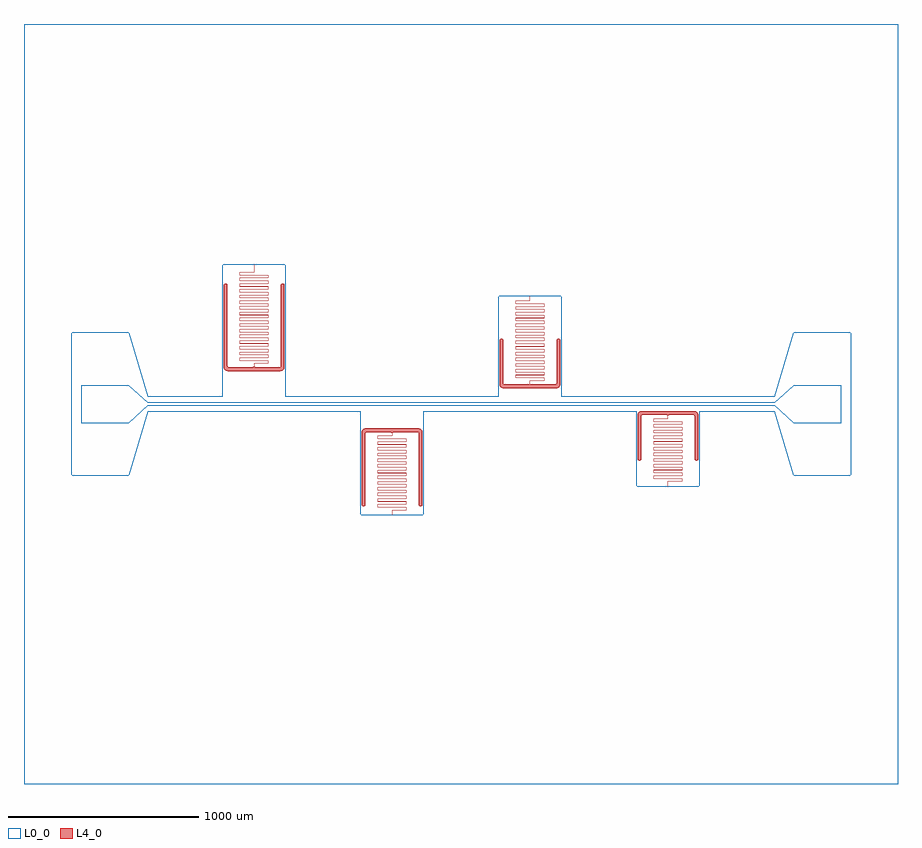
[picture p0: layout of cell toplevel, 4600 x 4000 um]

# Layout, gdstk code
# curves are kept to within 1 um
import gdstk
lib = gdstk.Library(unit=1e-6, precision=1e-09)
def P(c, l, *ps):  # polygons
    for p in ps: c.add(gdstk.Polygon(p, *l))
L0_0 = (0, 0)
L4_0 = (4, 0)

toplevel = lib.new_cell('toplevel')
P(toplevel, L0_0, [(2300,2000),(-2300,2000),(-2300,-375),(-2050,-375),(-2050,375),(-1750,375),(-1650,37.5),(-1254,37.5),(-1254,733.5),(-924,733.5),(-924,37.5),(198,37.5),(198,567.833),(528,567.833),(528,37.5),(1650,37.5),(1750,375),(2050,375),(2050,-375),(1750,-375),(1650,-37.5),(1254,-37.5),(1254,-432.5),(924,-432.5),(924,-37.5),(-198,-37.5),(-198,-583.167),(-528,-583.167),(-528,-37.5),(-1650,-37.5),(-1750,-375),(-2300,-375),(-2300,-2000),(2300,-2000)],
  [(-1650,10),(-1750,100),(-2000,100),(-2000,-100),(-1750,-100),(-1650,-10),(1650,-10),(1750,-100),(2000,-100),(2000,100),(1750,100),(1650,10)])
P(toplevel, L4_0, [(-957.256,173.5),(-946.418,174.546),(-938.466,178.163),(-932.684,184.468),(-929.573,193.131),(-929,333.264),(-949,333.264),(-949.063,198.555),(-950.128,194.413),(-956.931,193.5),(-1079,193.5),(-1088.85,198.4),(-1088.645,213.237),(-1014.181,213.302),(-1014.295,228.531),(-1163.818,228.69),(-1163.605,243.244),(-1014.558,243.25),(-1013.851,243.876),(-1014.368,258.543),(-1163.737,258.595),(-1163.579,273.246),(-1014.558,273.25),(-1013.851,273.867),(-1014.429,288.548),(-1163.657,288.565),(-1163.721,303.213),(-1014.378,303.256),(-1013.85,317.879),(-1014.537,318.55),(-1163.59,318.555),(-1163.766,333.185),(-1014.318,333.264),(-1164.077,333.264),(-1163.622,318.256),(-1014.15,317.867),(-1014.41,303.555),(-1163.826,303.495),(-1163.682,288.264),(-1014.416,288.246),(-1014.15,273.9),(-1163.647,273.541),(-1163.894,258.339),(-1014.427,258.247),(-1014.15,243.902),(-1163.616,243.544),(-1164.149,228.879),(-1163.442,228.25),(-1014.445,228.248),(-1014.238,213.611),(-1088.74,213.523),(-1089.15,198.4),(-1099,193.5),(-1221.398,193.501),(-1227.571,194.248),(-1228.622,196.059),(-1228.995,200.544),(-1229,333.264),(-1249,333.264),(-1248.862,196.75),(-1247.774,190.25),(-1245.477,184.744),(-1242.012,180.24),(-1237.342,176.789),(-1230.658,174.327),(-1222.348,173.508)],
  [(-1014.26,333.277),(-1014.109,333.337),(-1013.96,333.474),(-1013.851,333.861),(-1013.85,347.874),(-1013.884,348.167),(-1013.978,348.35),(-1014.141,348.48),(-1014.359,348.541),(-1163.442,348.55),(-1163.738,348.596),(-1163.841,348.774),(-1163.85,362.865),(-1163.798,363.148),(-1163.603,363.244),(-1014.558,363.25),(-1014.318,363.264),(-1014.109,363.337),(-1013.96,363.474),(-1013.873,363.673),(-1013.853,377.977),(-1013.9,378.213),(-1013.991,378.365),(-1014.167,378.492),(-1014.356,378.541),(-1163.442,378.55),(-1163.714,378.583),(-1163.834,378.741),(-1163.85,392.912),(-1163.78,393.172),(-1163.581,393.246),(-1014.521,393.25),(-1014.273,393.273),(-1014.084,393.353),(-1013.949,393.49),(-1013.871,393.682),(-1013.851,407.941),(-1013.889,408.183),(-1013.991,408.365),(-1014.154,408.486),(-1014.378,408.544),(-1163.457,408.55),(-1163.73,408.591),(-1163.836,408.747),(-1163.85,422.905),(-1163.79,423.159),(-1163.592,423.245),(-1014.532,423.25),(-1014.279,423.272),(-1014.09,423.349),(-1013.953,423.484),(-1013.873,423.676),(-1013.851,437.941),(-1013.889,438.183),(-1013.991,438.365),(-1014.154,438.486),(-1014.378,438.544),(-1163.457,438.55),(-1163.727,438.59),(-1163.834,438.739),(-1163.85,452.905),(-1163.79,453.159),(-1163.592,453.245),(-1014.532,453.25),(-1014.282,453.271),(-1014.096,453.345),(-1013.96,453.474),(-1013.877,453.66),(-1013.851,467.941),(-1013.889,468.183),(-1013.991,468.365),(-1014.154,468.486),(-1014.378,468.544),(-1163.457,468.55),(-1163.722,468.587),(-1163.832,468.73),(-1163.85,482.905),(-1163.79,483.159),(-1163.592,483.245),(-1014.534,483.25),(-1014.289,483.27),(-1014.103,483.341),(-1013.966,483.465),(-1013.881,483.643),(-1013.85,483.937),(-1013.851,497.941),(-1013.889,498.183),(-1013.991,498.365),(-1014.154,498.486),(-1014.378,498.544),(-1163.457,498.55),(-1163.718,498.585),(-1163.829,498.72),(-1163.85,512.905),(-1163.79,513.159),(-1163.592,513.245),(-1014.534,513.25),(-1014.112,513.336),(-1013.976,513.453),(-1013.887,513.624),(-1013.85,513.934),(-1013.851,527.941),(-1013.889,528.183),(-1013.991,528.365),(-1014.154,528.486),(-1014.378,528.544),(-1163.457,528.55),(-1163.714,528.583),(-1163.825,528.707),(-1163.85,542.905),(-1163.79,543.159),(-1163.592,543.245),(-1014.534,543.25),(-1014.122,543.33),(-1013.985,543.441),(-1013.896,543.597),(-1013.85,543.932),(-1013.851,557.938),(-1013.889,558.183),(-1013.991,558.365),(-1014.154,558.486),(-1014.378,558.544),(-1163.455,558.55),(-1163.706,558.58),(-1163.82,558.694),(-1163.85,572.902),(-1163.791,573.158),(-1163.592,573.245),(-1014.537,573.25),(-1014.138,573.322),(-1014.001,573.423),(-1013.908,573.567),(-1013.85,573.926),(-1013.851,587.938),(-1013.889,588.183),(-1013.991,588.365),(-1014.154,588.486),(-1014.378,588.544),(-1163.455,588.55),(-1163.697,588.577),(-1163.813,588.679),(-1163.85,588.935),(-1163.85,602.902),(-1163.79,603.159),(-1163.59,603.245),(-1014.537,603.25),(-1014.154,603.314),(-1013.925,603.532),(-1013.85,603.923),(-1013.851,617.936),(-1013.888,618.18),(-1013.991,618.365),(-1014.154,618.486),(-1014.378,618.544),(-1163.455,618.55),(-1163.686,618.573),(-1163.804,618.662),(-1163.85,618.932),(-1163.85,632.9),(-1163.791,633.158),(-1163.59,633.245),(-1014.54,633.25),(-1014.181,633.302),(-1013.951,633.487),(-1013.873,633.673),(-1013.85,633.915),(-1013.851,647.933),(-1013.887,648.176),(-1013.988,648.362),(-1014.154,648.486),(-1014.378,648.544),(-1163.452,648.55),(-1163.671,648.569),(-1163.791,648.642),(-1163.85,648.927),(-1163.85,662.9),(-1163.791,663.158),(-1163.59,663.245),(-1014.542,663.25),(-1014.217,663.289),(-1013.993,663.432),(-1013.884,663.633),(-1013.85,663.907),(-1013.851,677.927),(-1013.887,678.176),(-1013.988,678.362),(-1014.154,678.486),(-1014.378,678.544),(-1163.452,678.55),(-1163.772,678.62),(-1163.833,678.734),(-1163.85,678.922),(-1163.85,692.888),(-1163.804,693.139),(-1163.643,693.238),(-1089.54,693.25),(-1089.27,693.274),(-1089.068,693.364),(-1088.9,693.587),(-1088.85,693.921),(-1088.85,733.4),(-1089.15,733.4),(-1089.15,693.935),(-1089.17,693.725),(-1089.243,693.608),(-1089.545,693.55),(-1163.705,693.531),(-1163.897,693.459),(-1164.038,693.329),(-1164.122,693.147),(-1164.15,692.913),(-1164.15,678.901),(-1164.108,678.607),(-1163.977,678.401),(-1163.76,678.282),(-1163.458,678.25),(-1014.41,678.245),(-1014.209,678.158),(-1014.15,677.898),(-1014.15,663.925),(-1014.218,663.631),(-1014.338,663.566),(-1014.548,663.55),(-1163.622,663.544),(-1163.846,663.486),(-1164.012,663.362),(-1164.113,663.176),(-1164.149,662.93),(-1164.15,648.912),(-1164.122,648.656),(-1164.031,648.462),(-1163.803,648.296),(-1163.46,648.25),(-1014.41,648.245),(-1014.209,648.158),(-1014.15,647.9),(-1014.15,633.93),(-1014.202,633.652),(-1014.321,633.571),(-1014.548,633.55),(-1163.622,633.544),(-1163.846,633.486),(-1164.009,633.365),(-1164.112,633.18),(-1164.149,632.936),(-1164.15,618.921),(-1164.064,618.512),(-1163.836,618.309),(-1163.463,618.25),(-1014.41,618.245),(-1014.21,618.159),(-1014.15,617.902),(-1014.15,603.932),(-1014.191,603.67),(-1014.307,603.575),(-1014.545,603.55),(-1163.622,603.544),(-1163.846,603.486),(-1164.009,603.365),(-1164.112,603.18),(-1164.149,602.936),(-1164.15,588.923),(-1164.085,588.551),(-1163.855,588.318),(-1163.463,588.25),(-1014.41,588.245),(-1014.21,588.159),(-1014.15,587.902),(-1014.15,573.935),(-1014.183,573.686),(-1014.299,573.578),(-1014.545,573.55),(-1163.622,573.544),(-1163.846,573.486),(-1164.009,573.365),(-1164.111,573.183),(-1164.149,572.938),(-1164.15,558.929),(-1164.099,558.584),(-1164.007,558.432),(-1163.872,558.327),(-1163.466,558.25),(-1014.408,558.245),(-1014.209,558.158),(-1014.15,557.902),(-1014.178,543.701),(-1014.291,543.581),(-1014.543,543.55),(-1163.622,543.544),(-1163.846,543.486),(-1164.009,543.365),(-1164.111,543.183),(-1164.149,542.938),(-1164.15,528.932),(-1164.109,528.61),(-1164.019,528.447),(-1163.881,528.332),(-1163.466,528.25),(-1014.408,528.245),(-1014.21,528.159),(-1014.15,527.905),(-1014.173,513.714),(-1014.283,513.585),(-1014.543,513.55),(-1163.622,513.544),(-1163.846,513.486),(-1164.009,513.365),(-1164.111,513.183),(-1164.149,512.941),(-1164.15,498.934),(-1164.116,498.633),(-1164.029,498.459),(-1163.891,498.337),(-1163.466,498.25),(-1014.408,498.245),(-1014.21,498.159),(-1014.15,497.905),(-1014.17,483.725),(-1014.279,483.587),(-1014.543,483.55),(-1163.622,483.544),(-1163.846,483.486),(-1164.009,483.365),(-1164.111,483.183),(-1164.149,482.941),(-1164.122,468.653),(-1164.038,468.471),(-1163.901,468.343),(-1163.714,468.271),(-1163.468,468.25),(-1014.408,468.245),(-1014.21,468.159),(-1014.15,467.905),(-1014.167,453.734),(-1014.276,453.588),(-1014.543,453.55),(-1163.622,453.544),(-1163.846,453.486),(-1164.009,453.365),(-1164.111,453.183),(-1164.149,452.941),(-1164.126,438.67),(-1164.044,438.48),(-1163.907,438.347),(-1163.717,438.271),(-1163.468,438.25),(-1014.408,438.245),(-1014.21,438.159),(-1014.15,437.905),(-1014.165,423.743),(-1014.272,423.59),(-1014.543,423.55),(-1163.622,423.544),(-1163.846,423.486),(-1164.009,423.365),(-1164.111,423.183),(-1164.149,422.941),(-1164.129,408.682),(-1164.051,408.49),(-1163.913,408.351),(-1163.724,408.273),(-1163.468,408.25),(-1014.408,408.245),(-1014.21,408.159),(-1014.15,407.905),(-1014.164,393.747),(-1014.27,393.591),(-1014.543,393.55),(-1163.65,393.54),(-1163.849,393.485),(-1164.019,393.353),(-1164.119,393.157),(-1164.149,392.941),(-1164.137,378.724),(-1164.066,378.515),(-1163.932,378.364),(-1163.737,378.276),(-1163.442,378.25),(-1014.395,378.244),(-1014.211,378.162),(-1014.151,377.943),(-1014.165,363.743),(-1014.285,363.584),(-1014.558,363.55),(-1163.644,363.541),(-1163.865,363.477),(-1164.002,363.374),(-1164.109,363.19),(-1164.147,362.98),(-1164.138,348.731),(-1164.068,348.519),(-1163.935,348.366),(-1163.74,348.277),(-1163.442,348.25),(-1014.399,348.244),(-1014.205,348.153),(-1014.15,347.865),(-1014.159,333.774),(-1014.263,333.595),(-1014.558,333.55),(-1163.463,333.55),(-1163.849,333.485),(-1164.077,333.264)],
  [(-1229,623.5),(-1231.627,630.256),(-1238.564,633.49),(-1245.756,630.873),(-1248.962,624.372),(-1249,333.264),(-1229,333.264)],
  [(-929,623.5),(-931.627,630.256),(-938.564,633.49),(-945.756,630.873),(-948.962,624.372),(-949,333.264),(-929,333.264)],
  [(-363.152,-167.63),(-437.701,-167.935),(-438.149,-168.531),(-437.849,-183.151),(-288.445,-183.219),(-288.263,-197.872),(-437.613,-197.922),(-438.149,-198.534),(-437.935,-213.1),(-288.445,-213.219),(-288.224,-227.843),(-437.61,-227.922),(-438.149,-228.534),(-438.009,-243.032),(-288.376,-243.225),(-288.21,-257.826),(-437.61,-257.922),(-438.149,-258.525),(-438.068,-272.948),(-288.378,-273.225),(-288.196,-287.805),(-437.607,-287.922),(-438.149,-288.522),(-438.068,-302.948),(-288.45,-303.218),(-288.184,-317.782),(-437.604,-317.921),(-438.148,-318.516),(-438.092,-332.899),(-288.385,-333.224),(-288.174,-347.756),(-437.601,-347.921),(-438.148,-348.508),(-438.111,-362.85),(-288.387,-363.224),(-288.174,-377.756),(-437.65,-377.926),(-438.148,-378.499),(-438.111,-392.85),(-288.393,-393.223),(-288.173,-407.754),(-437.644,-407.925),(-438.147,-408.49),(-438.111,-422.85),(-288.399,-423.222),(-288.173,-437.754),(-437.638,-437.925),(-438.15,-438.59),(-438.127,-452.791),(-288.404,-453.222),(-288.165,-467.723),(-437.628,-467.924),(-438.148,-468.516),(-438.127,-482.791),(-288.414,-483.221),(-288.165,-497.722),(-437.653,-497.927),(-438.148,-498.502),(-438.128,-512.787),(-437.442,-513.217),(-288.425,-513.22),(-288.158,-527.688),(-437.628,-527.924),(-438.147,-528.481),(-438.149,-542.591),(-437.442,-543.217),(-288.267,-543.259),(-288.357,-557.904),(-362.872,-557.993),(-362.85,-583.067),(-362.733,-558.259),(-288.292,-558.197),(-287.85,-557.574),(-288.068,-543.031),(-437.59,-542.912),(-437.772,-528.287),(-288.378,-528.21),(-287.851,-527.594),(-287.993,-513.099),(-437.59,-512.912),(-437.791,-498.308),(-288.378,-498.21),(-287.851,-497.599),(-287.951,-483.153),(-437.59,-482.912),(-437.804,-468.329),(-288.378,-468.21),(-287.851,-467.602),(-287.925,-453.198),(-437.59,-452.912),(-437.813,-438.346),(-288.378,-438.21),(-287.851,-437.605),(-287.908,-423.234),(-437.592,-422.912),(-437.82,-408.361),(-288.378,-408.21),(-287.851,-407.605),(-287.896,-393.264),(-437.592,-392.912),(-437.825,-378.374),(-288.378,-378.21),(-287.851,-377.608),(-287.887,-363.29),(-437.592,-362.912),(-437.829,-348.386),(-288.378,-348.21),(-287.851,-347.608),(-287.881,-333.31),(-437.592,-332.912),(-437.832,-318.397),(-288.378,-318.21),(-287.851,-317.608),(-287.877,-303.326),(-437.592,-302.912),(-437.834,-288.406),(-288.378,-288.21),(-287.851,-287.608),(-287.873,-273.343),(-437.592,-272.912),(-437.836,-258.414),(-288.378,-258.21),(-287.851,-257.608),(-287.87,-243.356),(-288.532,-242.917),(-437.592,-242.912),(-437.837,-228.421),(-288.378,-228.21),(-287.851,-227.608),(-287.868,-213.365),(-288.532,-212.917),(-437.592,-212.912),(-437.838,-198.427),(-288.378,-198.21),(-287.851,-197.608),(-287.867,-183.372),(-288.521,-182.917),(-437.581,-182.913),(-437.822,-168.368),(-363.26,-168.19),(-362.85,-153.067),(-353,-148.167),(-230.122,-148.171),(-225.893,-148.474),(-223.892,-149.327),(-223,-156.098),(-222.99,-528.603),(-222.063,-532.393),(-219.756,-535.539),(-216.42,-537.564),(-212.564,-538.157),(-208.774,-537.23),(-205.929,-535.238),(-203.761,-531.994),(-203.009,-528.603),(-203,-156.058),(-203.289,-149.777),(-204.304,-144.647),(-206.14,-140.102),(-208.804,-136.175),(-212.197,-133.025),(-216.323,-130.63),(-221.211,-129.023),(-226.814,-128.268),(-497.776,-128.205),(-504.138,-128.884),(-509.399,-130.508),(-513.936,-133.125),(-517.63,-136.698),(-521.656,-144.512),(-522.988,-154.521),(-523,-528.167),(-522.239,-531.994),(-519.756,-535.539),(-516.42,-537.564),(-512.128,-538.129),(-508.382,-537.037),(-505.627,-534.923),(-503.761,-531.994),(-503.009,-528.603),(-503,-156.181),(-502.339,-149.795),(-500.557,-148.572),(-495.878,-148.171),(-373,-148.167),(-363.15,-153.067)],
  [(363.15,122.223),(363.548,122.583),(437.701,122.601),(438.149,123.198),(437.849,137.818),(288.443,137.886),(288.263,152.538),(437.613,152.589),(438.149,153.206),(437.935,167.767),(288.443,167.886),(288.224,182.509),(437.613,182.589),(438.149,183.201),(438.009,197.698),(288.374,197.892),(288.21,212.493),(437.61,212.589),(438.149,213.201),(438.068,227.615),(288.445,227.885),(288.196,242.471),(437.61,242.589),(438.149,243.192),(438.068,257.615),(288.448,257.885),(288.184,272.448),(437.607,272.588),(438.149,273.189),(438.092,287.566),(437.442,287.883),(288.382,287.891),(288.174,302.422),(437.604,302.588),(438.148,303.183),(438.111,317.516),(437.442,317.883),(288.385,317.891),(288.174,332.422),(437.601,332.588),(438.148,333.174),(438.111,347.516),(437.442,347.883),(288.387,347.891),(288.174,362.422),(437.65,362.593),(438.148,363.165),(438.111,377.516),(437.442,377.883),(288.393,377.89),(288.173,392.421),(437.644,392.592),(438.147,393.157),(438.126,407.461),(437.442,407.883),(288.399,407.889),(288.165,422.39),(437.638,422.591),(438.15,423.257),(438.127,437.457),(437.442,437.883),(288.404,437.889),(288.165,452.39),(437.628,452.59),(438.148,453.183),(438.127,467.457),(437.442,467.883),(288.414,467.888),(288.165,482.388),(437.653,482.593),(438.148,483.168),(438.128,497.454),(437.442,497.883),(288.425,497.887),(288.158,512.355),(437.628,512.59),(438.147,513.148),(438.149,527.257),(437.442,527.883),(288.267,527.926),(288.357,542.571),(362.872,542.66),(362.85,567.733),(362.733,542.926),(288.292,542.864),(287.85,542.24),(288.068,527.698),(437.59,527.579),(437.772,512.954),(288.378,512.877),(287.851,512.26),(287.993,497.765),(437.59,497.579),(437.791,482.975),(288.378,482.877),(287.851,482.266),(287.951,467.82),(437.59,467.579),(437.804,452.995),(288.378,452.877),(287.851,452.269),(287.925,437.865),(437.59,437.579),(437.813,423.012),(288.378,422.877),(287.851,422.272),(287.908,407.901),(288.537,407.583),(437.592,407.578),(437.82,393.028),(288.378,392.877),(287.851,392.272),(287.896,377.93),(288.534,377.583),(437.592,377.578),(437.825,363.041),(288.378,362.877),(287.851,362.275),(287.887,347.957),(288.534,347.583),(437.592,347.578),(437.829,333.053),(288.378,332.877),(287.851,332.275),(287.881,317.977),(288.534,317.583),(437.592,317.578),(437.832,303.064),(288.378,302.877),(287.851,302.275),(287.877,287.993),(288.532,287.583),(437.592,287.578),(437.834,273.073),(288.378,272.877),(287.851,272.275),(287.873,258.009),(288.532,257.583),(437.592,257.578),(437.836,243.08),(288.378,242.877),(287.851,242.275),(287.87,228.022),(288.532,227.583),(437.592,227.578),(437.837,213.088),(288.378,212.877),(287.851,212.275),(287.868,198.032),(288.532,197.583),(437.592,197.578),(437.838,183.094),(288.378,182.877),(287.851,182.278),(287.865,168.045),(288.532,167.583),(437.592,167.578),(437.839,153.1),(288.378,152.877),(287.851,152.278),(287.865,138.048),(288.521,137.583),(437.581,137.579),(437.822,123.034),(363.26,122.857),(362.851,122.255),(362.85,107.733),(353,102.833),(230.201,102.837),(226.308,103.069),(224.017,103.828),(223.236,106.142),(223.001,110.435),(222.99,333.269),(222.063,337.06),(219.756,340.206),(216.42,342.23),(212.564,342.824),(209.173,342.072),(205.929,339.904),(203.937,337.06),(203.009,333.269),(203,110.724),(203.289,104.443),(204.226,99.583),(206.067,94.907),(208.694,90.971),(212.063,87.792),(216.184,85.359),(220.816,83.781),(226.136,82.98),(496.746,82.847),(502.119,83.213),(506.52,84.137),(510.51,85.689),(514.07,87.892),(517.735,91.497),(520.537,96.157),(522.256,101.565),(522.958,107.952),(523,332.833),(522.239,336.66),(519.756,340.206),(516.42,342.23),(512.128,342.795),(508.382,341.703),(505.627,339.589),(503.761,336.66),(503.009,333.269),(502.999,110.517),(502.786,106.289),(502.08,103.951),(500.018,103.124),(496.034,102.839),(373,102.833),(363.15,107.733)],
  [(1088.846,-76.979),(1014.299,-77.268),(1013.85,-77.924),(1014.194,-92.503),(1163.59,-92.555),(1163.738,-107.204),(1014.378,-107.256),(1013.851,-107.879),(1014.05,-122.422),(1163.584,-122.554),(1163.776,-137.176),(1014.393,-137.255),(1013.851,-137.856),(1013.991,-152.365),(1163.618,-152.558),(1163.79,-167.159),(1014.396,-167.255),(1013.851,-167.85),(1013.96,-182.326),(1163.615,-182.558),(1163.804,-197.138),(1014.399,-197.254),(1013.852,-197.841),(1013.932,-212.281),(1163.613,-212.557),(1163.816,-227.115),(1014.402,-227.254),(1013.852,-227.832),(1013.908,-242.232),(1163.607,-242.556),(1163.817,-257.113),(1014.356,-257.259),(1013.853,-257.823),(1013.889,-272.183),(1163.601,-272.556),(1163.826,-287.087),(1014.362,-287.258),(1013.85,-287.923),(1013.888,-302.18),(1163.596,-302.555),(1163.835,-317.057),(1014.371,-317.257),(1013.851,-317.85),(1013.888,-332.18),(1163.586,-332.554),(1163.827,-347.086),(1014.346,-347.26),(1013.852,-347.835),(1013.872,-362.121),(1014.558,-362.55),(1163.575,-362.553),(1163.835,-377.055),(1014.371,-377.257),(1013.853,-377.814),(1013.851,-391.924),(1014.558,-392.55),(1163.733,-392.593),(1163.643,-407.238),(1089.128,-407.327),(1089.15,-432.4),(1089.267,-407.593),(1163.708,-407.531),(1164.15,-406.907),(1163.932,-392.364),(1014.41,-392.245),(1014.228,-377.62),(1163.622,-377.544),(1164.149,-376.927),(1164.007,-362.432),(1014.41,-362.245),(1014.209,-347.642),(1163.622,-347.544),(1164.149,-346.933),(1164.049,-332.487),(1014.41,-332.245),(1014.196,-317.662),(1163.622,-317.544),(1164.149,-316.936),(1164.075,-302.532),(1014.41,-302.245),(1014.187,-287.679),(1163.622,-287.544),(1164.149,-286.938),(1164.092,-272.567),(1014.408,-272.245),(1014.18,-257.694),(1163.622,-257.544),(1164.149,-256.938),(1164.104,-242.597),(1014.408,-242.245),(1014.175,-227.707),(1163.622,-227.544),(1164.149,-226.941),(1164.113,-212.624),(1014.408,-212.245),(1014.171,-197.72),(1163.622,-197.544),(1164.149,-196.941),(1164.119,-182.643),(1163.466,-182.25),(1014.408,-182.245),(1014.168,-167.73),(1163.622,-167.544),(1164.149,-166.941),(1164.123,-152.66),(1163.468,-152.25),(1014.408,-152.245),(1014.166,-137.739),(1163.619,-137.544),(1164.149,-136.947),(1164.119,-122.643),(1163.479,-122.25),(1014.395,-122.244),(1014.164,-107.747),(1163.616,-107.544),(1164.15,-106.904),(1164.129,-92.686),(1163.442,-92.25),(1014.445,-92.248),(1014.185,-77.683),(1088.74,-77.523),(1089.149,-76.921),(1089.15,-62.4),(1099,-57.5),(1221.878,-57.504),(1225.787,-57.751),(1227.99,-58.501),(1228.764,-60.808),(1228.998,-64.94),(1229.009,-287.936),(1229.937,-291.726),(1232.244,-294.873),(1235.58,-296.897),(1239.436,-297.49),(1242.827,-296.739),(1246.071,-294.571),(1248.239,-291.327),(1248.99,-287.936),(1249,-65.483),(1248.711,-59.11),(1247.774,-54.25),(1245.933,-49.574),(1243.306,-45.638),(1239.803,-42.359),(1235.677,-39.963),(1230.92,-38.386),(1225.75,-37.638),(955.354,-37.512),(945.75,-38.726),(941.768,-40.22),(938.063,-42.458),(934.265,-46.164),(931.463,-50.823),(929.771,-56.102),(929.049,-62.406),(929,-287.5),(929.761,-291.327),(932.244,-294.873),(935.58,-296.897),(939.872,-297.462),(943.226,-296.563),(946.373,-294.256),(948.239,-291.327),(948.99,-287.936),(949.001,-65.102),(949.913,-58.628),(951.937,-57.799),(956.122,-57.504),(1079,-57.5),(1088.85,-62.4)])

lib.write_gds('toplevel.gds')
